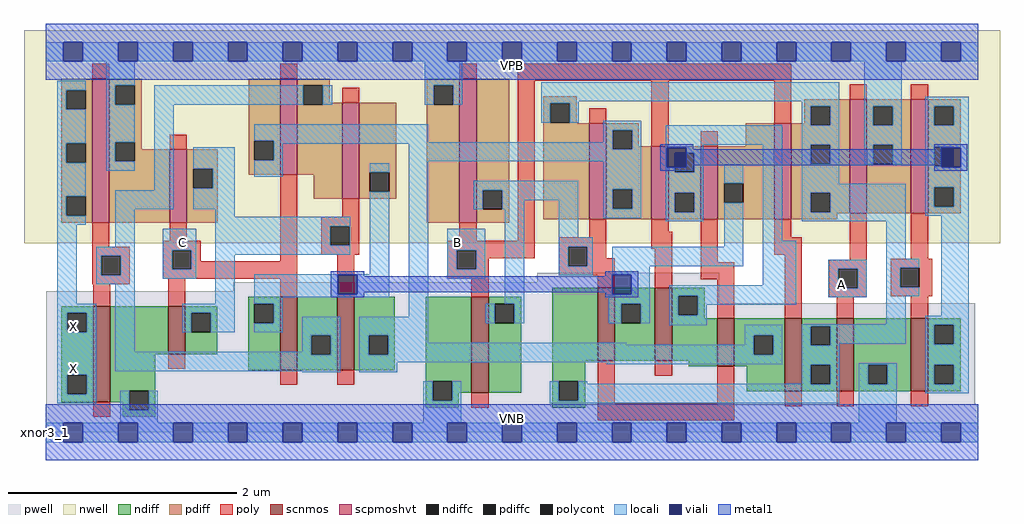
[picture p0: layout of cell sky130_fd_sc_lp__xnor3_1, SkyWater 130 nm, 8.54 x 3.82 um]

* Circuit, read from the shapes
.subckt sky130_fd_sc_lp__xnor3_1 A B C VGND VNB VPB VPWR X
XM1 VGND n1 X VNB sky130_fd_pr__nfet_01v8 w=0.84 l=0.15
XM2 n2 C VGND VNB sky130_fd_pr__nfet_01v8 w=0.42 l=0.15
XM3 n1 C n3 VNB sky130_fd_pr__nfet_01v8 w=0.64 l=0.15
XM4 n4 n2 n1 VNB sky130_fd_pr__nfet_01v8 w=0.64 l=0.15
XM5 n5 B VGND VNB sky130_fd_pr__nfet_01v8 w=0.84 l=0.15
XM6 n3 n5 n6 VNB sky130_fd_pr__nfet_01v8 w=0.64 l=0.15
XM7 n7 B n3 VNB sky130_fd_pr__nfet_01v8 w=0.64 l=0.15
XM8 n4 n5 n7 VNB sky130_fd_pr__nfet_01v8 w=0.42 l=0.15
XM9 n6 B n4 VNB sky130_fd_pr__nfet_01v8 w=0.64 l=0.15
XM10 VGND A n6 VNB sky130_fd_pr__nfet_01v8 w=0.64 l=0.15
XM11 n7 n6 VGND VNB sky130_fd_pr__nfet_01v8 w=0.64 l=0.15
XM12 VPWR n1 X VPB sky130_fd_pr__pfet_01v8_hvt w=1.26 l=0.15
XM13 n2 C VPWR VPB sky130_fd_pr__pfet_01v8_hvt w=0.64 l=0.15
XM14 n1 C n4 VPB sky130_fd_pr__pfet_01v8_hvt w=0.84 l=0.15
XM15 n3 n2 n1 VPB sky130_fd_pr__pfet_01v8_hvt w=0.84 l=0.15
XM16 n5 B VPWR VPB sky130_fd_pr__pfet_01v8_hvt w=1.26 l=0.15
XM17 n4 n5 n6 VPB sky130_fd_pr__pfet_01v8_hvt w=0.84 l=0.15
XM18 n7 B n4 VPB sky130_fd_pr__pfet_01v8_hvt w=0.64 l=0.15
XM19 n3 n5 n7 VPB sky130_fd_pr__pfet_01v8_hvt w=0.64 l=0.15
XM20 n6 B n3 VPB sky130_fd_pr__pfet_01v8_hvt w=0.84 l=0.15
XM21 VPWR A n6 VPB sky130_fd_pr__pfet_01v8_hvt w=1 l=0.15
XM22 n7 n6 VPWR VPB sky130_fd_pr__pfet_01v8_hvt w=1 l=0.15
.ends

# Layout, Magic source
magic
tech sky130A
magscale 1 2
<< nwell >>
rect -38 331 1670 704
<< pwell >>
rect 860 263 1179 279
rect 328 247 1179 263
rect 1 226 1179 247
rect 1 49 1627 226
rect 0 0 1632 49
<< scnmos >>
rect 83 53 113 221
rect 214 137 244 221
rect 410 109 440 237
rect 510 109 540 237
rect 745 69 775 237
rect 966 125 996 253
rect 1066 125 1096 253
rect 1175 116 1205 200
rect 1293 72 1323 200
rect 1384 72 1414 200
rect 1514 72 1544 200
<< scpmoshvt >>
rect 81 367 111 619
rect 217 367 247 495
rect 410 451 440 619
rect 519 409 549 577
rect 724 367 754 619
rect 951 373 981 541
rect 1060 373 1090 501
rect 1146 373 1176 501
rect 1275 373 1305 541
rect 1407 383 1437 583
rect 1514 383 1544 583
<< ndiff >>
rect 354 225 410 237
rect 27 209 83 221
rect 27 175 38 209
rect 72 175 83 209
rect 27 101 83 175
rect 27 67 38 101
rect 72 67 83 101
rect 27 53 83 67
rect 113 137 214 221
rect 244 209 300 221
rect 244 175 255 209
rect 289 175 300 209
rect 244 137 300 175
rect 354 191 365 225
rect 399 191 410 225
rect 113 73 192 137
rect 354 109 410 191
rect 440 170 510 237
rect 440 136 465 170
rect 499 136 510 170
rect 440 109 510 136
rect 540 170 611 237
rect 540 136 565 170
rect 599 136 611 170
rect 540 109 611 136
rect 665 89 745 237
rect 113 53 146 73
rect 135 39 146 53
rect 180 39 192 73
rect 665 55 677 89
rect 711 69 745 89
rect 775 225 832 237
rect 775 191 786 225
rect 820 191 832 225
rect 775 69 832 191
rect 886 125 966 253
rect 996 225 1066 253
rect 996 191 1007 225
rect 1041 191 1066 225
rect 996 125 1066 191
rect 1096 239 1153 253
rect 1096 205 1107 239
rect 1141 205 1153 239
rect 1096 200 1153 205
rect 1096 125 1175 200
rect 886 89 944 125
rect 711 55 723 69
rect 665 43 723 55
rect 886 55 898 89
rect 932 55 944 89
rect 886 43 944 55
rect 1125 116 1175 125
rect 1205 170 1293 200
rect 1205 136 1239 170
rect 1273 136 1293 170
rect 1205 116 1293 136
rect 1227 72 1293 116
rect 1323 186 1384 200
rect 1323 152 1339 186
rect 1373 152 1384 186
rect 1323 118 1384 152
rect 1323 84 1339 118
rect 1373 84 1384 118
rect 1323 72 1384 84
rect 1414 118 1514 200
rect 1414 84 1439 118
rect 1473 84 1514 118
rect 1414 72 1514 84
rect 1544 188 1601 200
rect 1544 154 1555 188
rect 1589 154 1601 188
rect 1544 118 1601 154
rect 1544 84 1555 118
rect 1589 84 1601 118
rect 1544 72 1601 84
rect 135 27 192 39
<< pdiff >>
rect 27 599 81 619
rect 27 565 36 599
rect 70 565 81 599
rect 27 506 81 565
rect 27 472 36 506
rect 70 472 81 506
rect 27 413 81 472
rect 27 379 36 413
rect 70 379 81 413
rect 27 367 81 379
rect 111 607 168 619
rect 111 573 122 607
rect 156 573 168 607
rect 111 508 168 573
rect 111 474 122 508
rect 156 495 168 508
rect 355 510 410 619
rect 156 474 217 495
rect 111 367 217 474
rect 247 461 301 495
rect 247 427 258 461
rect 292 427 301 461
rect 355 476 365 510
rect 399 476 410 510
rect 355 451 410 476
rect 440 607 497 619
rect 440 573 451 607
rect 485 577 497 607
rect 667 607 724 619
rect 485 573 519 577
rect 440 451 519 573
rect 247 367 301 427
rect 469 409 519 451
rect 549 455 613 577
rect 549 421 567 455
rect 601 421 613 455
rect 549 409 613 421
rect 667 573 679 607
rect 713 573 724 607
rect 667 367 724 573
rect 754 424 811 619
rect 754 390 765 424
rect 799 390 811 424
rect 754 367 811 390
rect 871 576 929 588
rect 871 542 883 576
rect 917 542 929 576
rect 871 541 929 542
rect 871 373 951 541
rect 981 529 1038 541
rect 981 495 992 529
rect 1026 501 1038 529
rect 1327 571 1407 583
rect 1327 541 1339 571
rect 1225 501 1275 541
rect 1026 495 1060 501
rect 981 425 1060 495
rect 981 391 992 425
rect 1026 391 1060 425
rect 981 373 1060 391
rect 1090 489 1146 501
rect 1090 455 1101 489
rect 1135 455 1146 489
rect 1090 419 1146 455
rect 1090 385 1101 419
rect 1135 385 1146 419
rect 1090 373 1146 385
rect 1176 436 1275 501
rect 1176 402 1187 436
rect 1221 402 1275 436
rect 1176 373 1275 402
rect 1305 537 1339 541
rect 1373 537 1407 571
rect 1305 503 1407 537
rect 1305 469 1339 503
rect 1373 469 1407 503
rect 1305 419 1407 469
rect 1305 385 1339 419
rect 1373 385 1407 419
rect 1305 383 1407 385
rect 1437 571 1514 583
rect 1437 537 1448 571
rect 1482 537 1514 571
rect 1437 503 1514 537
rect 1437 469 1448 503
rect 1482 469 1514 503
rect 1437 383 1514 469
rect 1544 571 1601 583
rect 1544 537 1555 571
rect 1589 537 1601 571
rect 1544 500 1601 537
rect 1544 466 1555 500
rect 1589 466 1601 500
rect 1544 429 1601 466
rect 1544 395 1555 429
rect 1589 395 1601 429
rect 1544 383 1601 395
rect 1305 373 1385 383
<< ndiffc >>
rect 38 175 72 209
rect 38 67 72 101
rect 255 175 289 209
rect 365 191 399 225
rect 465 136 499 170
rect 565 136 599 170
rect 146 39 180 73
rect 677 55 711 89
rect 786 191 820 225
rect 1007 191 1041 225
rect 1107 205 1141 239
rect 898 55 932 89
rect 1239 136 1273 170
rect 1339 152 1373 186
rect 1339 84 1373 118
rect 1439 84 1473 118
rect 1555 154 1589 188
rect 1555 84 1589 118
<< pdiffc >>
rect 36 565 70 599
rect 36 472 70 506
rect 36 379 70 413
rect 122 573 156 607
rect 122 474 156 508
rect 258 427 292 461
rect 365 476 399 510
rect 451 573 485 607
rect 567 421 601 455
rect 679 573 713 607
rect 765 390 799 424
rect 883 542 917 576
rect 992 495 1026 529
rect 992 391 1026 425
rect 1101 455 1135 489
rect 1101 385 1135 419
rect 1187 402 1221 436
rect 1339 537 1373 571
rect 1339 469 1373 503
rect 1339 385 1373 419
rect 1448 537 1482 571
rect 1448 469 1482 503
rect 1555 537 1589 571
rect 1555 466 1589 500
rect 1555 395 1589 429
<< poly >>
rect 81 619 111 645
rect 410 619 440 645
rect 724 619 754 645
rect 217 495 247 521
rect 519 577 549 603
rect 81 325 111 367
rect 217 335 247 367
rect 81 309 147 325
rect 81 275 97 309
rect 131 275 147 309
rect 81 259 147 275
rect 205 319 271 335
rect 205 285 221 319
rect 255 299 271 319
rect 410 299 440 451
rect 519 377 549 409
rect 482 361 549 377
rect 826 615 1305 645
rect 482 327 498 361
rect 532 327 549 361
rect 724 335 754 367
rect 826 335 856 615
rect 951 541 981 567
rect 1060 501 1090 615
rect 1275 541 1305 615
rect 1407 583 1437 609
rect 1514 583 1544 609
rect 1146 501 1176 527
rect 951 341 981 373
rect 482 311 549 327
rect 703 319 856 335
rect 255 285 440 299
rect 205 269 440 285
rect 83 221 113 259
rect 214 221 244 269
rect 410 237 440 269
rect 510 237 540 311
rect 703 285 719 319
rect 753 305 856 319
rect 898 325 981 341
rect 753 285 775 305
rect 703 269 775 285
rect 898 291 914 325
rect 948 305 981 325
rect 1060 351 1090 373
rect 1060 321 1096 351
rect 948 291 996 305
rect 898 275 996 291
rect 745 237 775 269
rect 966 253 996 275
rect 1066 253 1096 321
rect 1146 298 1176 373
rect 1275 341 1305 373
rect 1275 311 1323 341
rect 1146 268 1205 298
rect 214 111 244 137
rect 410 83 440 109
rect 510 83 540 109
rect 83 27 113 53
rect 1175 200 1205 268
rect 1293 200 1323 311
rect 1407 302 1437 383
rect 1514 304 1544 383
rect 1371 286 1437 302
rect 1371 252 1387 286
rect 1421 252 1437 286
rect 1371 236 1437 252
rect 1479 288 1551 304
rect 1479 254 1495 288
rect 1529 254 1551 288
rect 1479 238 1551 254
rect 1384 200 1414 236
rect 1514 200 1544 238
rect 745 43 775 69
rect 966 51 996 125
rect 1066 99 1096 125
rect 1175 51 1205 116
rect 966 21 1205 51
rect 1293 46 1323 72
rect 1384 46 1414 72
rect 1514 46 1544 72
<< polycont >>
rect 97 275 131 309
rect 221 285 255 319
rect 498 327 532 361
rect 719 285 753 319
rect 914 291 948 325
rect 1387 252 1421 286
rect 1495 254 1529 288
<< locali >>
rect 0 649 31 683
rect 65 649 127 683
rect 161 649 223 683
rect 257 649 319 683
rect 353 649 415 683
rect 449 649 511 683
rect 545 649 607 683
rect 641 649 703 683
rect 737 649 799 683
rect 833 649 895 683
rect 929 649 991 683
rect 1025 649 1087 683
rect 1121 649 1183 683
rect 1217 649 1279 683
rect 1313 649 1375 683
rect 1409 649 1471 683
rect 1505 649 1567 683
rect 1601 649 1632 683
rect 20 599 70 615
rect 20 565 36 599
rect 20 506 70 565
rect 20 472 36 506
rect 20 413 70 472
rect 106 607 156 649
rect 663 607 729 649
rect 106 573 122 607
rect 106 508 156 573
rect 106 474 122 508
rect 106 458 156 474
rect 190 573 451 607
rect 485 573 501 607
rect 663 573 679 607
rect 713 573 729 607
rect 867 579 1389 613
rect 867 576 933 579
rect 190 424 224 573
rect 867 542 883 576
rect 917 542 933 576
rect 1323 571 1389 579
rect 365 510 669 539
rect 20 379 36 413
rect 20 363 70 379
rect 122 390 224 424
rect 258 461 331 499
rect 292 427 331 461
rect 399 508 669 510
rect 976 529 1042 545
rect 1323 537 1339 571
rect 1373 537 1389 571
rect 976 508 992 529
rect 399 505 992 508
rect 399 476 415 505
rect 365 447 415 476
rect 635 495 992 505
rect 1026 495 1042 529
rect 635 474 1042 495
rect 567 455 601 471
rect 258 390 331 427
rect 20 225 54 363
rect 122 325 156 390
rect 297 377 331 390
rect 297 361 533 377
rect 88 309 156 325
rect 88 275 97 309
rect 131 275 156 309
rect 88 259 156 275
rect 205 319 263 356
rect 205 285 221 319
rect 255 285 263 319
rect 205 269 263 285
rect 297 327 498 361
rect 532 327 533 361
rect 297 311 533 327
rect 20 209 88 225
rect 20 175 38 209
rect 72 175 88 209
rect 20 101 88 175
rect 122 141 156 259
rect 297 225 331 311
rect 567 277 601 421
rect 239 209 331 225
rect 239 175 255 209
rect 289 175 331 209
rect 365 276 601 277
rect 365 242 511 276
rect 545 242 601 276
rect 365 236 601 242
rect 365 225 415 236
rect 399 191 415 225
rect 635 202 669 474
rect 749 424 932 440
rect 749 390 765 424
rect 799 406 932 424
rect 799 390 837 406
rect 703 319 769 356
rect 703 285 719 319
rect 753 285 769 319
rect 703 269 769 285
rect 803 225 837 390
rect 898 341 932 406
rect 976 425 1042 474
rect 976 391 992 425
rect 1026 391 1042 425
rect 976 375 1042 391
rect 1085 503 1289 537
rect 1085 498 1151 503
rect 1085 464 1087 498
rect 1121 489 1151 498
rect 1085 455 1101 464
rect 1135 455 1151 489
rect 1085 419 1151 455
rect 1085 385 1101 419
rect 1135 385 1151 419
rect 1085 369 1151 385
rect 1187 436 1221 469
rect 898 325 957 341
rect 1187 325 1221 402
rect 898 291 914 325
rect 948 291 957 325
rect 898 275 957 291
rect 991 291 1221 325
rect 1255 335 1289 503
rect 1323 503 1389 537
rect 1323 469 1339 503
rect 1373 469 1389 503
rect 1432 571 1498 649
rect 1432 537 1448 571
rect 1482 537 1498 571
rect 1432 503 1498 537
rect 1432 469 1448 503
rect 1482 469 1498 503
rect 1539 571 1615 587
rect 1539 537 1555 571
rect 1589 537 1615 571
rect 1539 500 1615 537
rect 1323 435 1389 469
rect 1539 466 1555 500
rect 1589 498 1615 500
rect 1539 464 1567 466
rect 1601 464 1615 498
rect 1323 419 1505 435
rect 1323 385 1339 419
rect 1373 385 1505 419
rect 1323 369 1505 385
rect 1539 429 1615 464
rect 1539 395 1555 429
rect 1589 395 1615 429
rect 1539 379 1615 395
rect 991 276 1057 291
rect 1025 242 1057 276
rect 1255 257 1313 335
rect 1471 304 1505 369
rect 991 241 1057 242
rect 365 175 415 191
rect 449 170 515 202
rect 449 141 465 170
rect 122 136 465 141
rect 499 136 515 170
rect 122 107 515 136
rect 449 105 515 107
rect 549 170 669 202
rect 770 191 786 225
rect 820 191 837 225
rect 985 225 1057 241
rect 985 191 1007 225
rect 1041 191 1057 225
rect 1091 239 1313 257
rect 1091 205 1107 239
rect 1141 223 1313 239
rect 1369 286 1437 302
rect 1369 252 1387 286
rect 1421 252 1437 286
rect 1369 236 1437 252
rect 1471 288 1529 304
rect 1471 254 1495 288
rect 1471 238 1529 254
rect 1141 205 1157 223
rect 1091 187 1157 205
rect 1471 189 1505 238
rect 1567 204 1615 379
rect 549 136 565 170
rect 599 157 669 170
rect 1223 170 1289 188
rect 599 153 1016 157
rect 1223 153 1239 170
rect 599 136 1239 153
rect 1273 136 1289 170
rect 549 123 1289 136
rect 549 105 615 123
rect 982 119 1289 123
rect 1323 186 1505 189
rect 1323 152 1339 186
rect 1373 155 1505 186
rect 1539 188 1615 204
rect 1373 152 1389 155
rect 1323 118 1389 152
rect 1539 154 1555 188
rect 1589 154 1615 188
rect 20 67 38 101
rect 72 67 88 101
rect 20 51 88 67
rect 130 39 146 73
rect 180 39 196 73
rect 130 17 196 39
rect 661 55 677 89
rect 711 55 727 89
rect 661 17 727 55
rect 882 55 898 89
rect 932 85 948 89
rect 1323 85 1339 118
rect 932 84 1339 85
rect 1373 84 1389 118
rect 932 55 1389 84
rect 882 51 1389 55
rect 1423 118 1489 121
rect 1423 84 1439 118
rect 1473 84 1489 118
rect 1423 17 1489 84
rect 1539 118 1615 154
rect 1539 84 1555 118
rect 1589 84 1615 118
rect 1539 68 1615 84
rect 0 -17 31 17
rect 65 -17 127 17
rect 161 -17 223 17
rect 257 -17 319 17
rect 353 -17 415 17
rect 449 -17 511 17
rect 545 -17 607 17
rect 641 -17 703 17
rect 737 -17 799 17
rect 833 -17 895 17
rect 929 -17 991 17
rect 1025 -17 1087 17
rect 1121 -17 1183 17
rect 1217 -17 1279 17
rect 1313 -17 1375 17
rect 1409 -17 1471 17
rect 1505 -17 1567 17
rect 1601 -17 1632 17
<< viali >>
rect 31 649 65 683
rect 127 649 161 683
rect 223 649 257 683
rect 319 649 353 683
rect 415 649 449 683
rect 511 649 545 683
rect 607 649 641 683
rect 703 649 737 683
rect 799 649 833 683
rect 895 649 929 683
rect 991 649 1025 683
rect 1087 649 1121 683
rect 1183 649 1217 683
rect 1279 649 1313 683
rect 1375 649 1409 683
rect 1471 649 1505 683
rect 1567 649 1601 683
rect 511 242 545 276
rect 1087 489 1121 498
rect 1087 464 1101 489
rect 1101 464 1121 489
rect 1567 466 1589 498
rect 1589 466 1601 498
rect 1567 464 1601 466
rect 991 242 1025 276
rect 31 -17 65 17
rect 127 -17 161 17
rect 223 -17 257 17
rect 319 -17 353 17
rect 415 -17 449 17
rect 511 -17 545 17
rect 607 -17 641 17
rect 703 -17 737 17
rect 799 -17 833 17
rect 895 -17 929 17
rect 991 -17 1025 17
rect 1087 -17 1121 17
rect 1183 -17 1217 17
rect 1279 -17 1313 17
rect 1375 -17 1409 17
rect 1471 -17 1505 17
rect 1567 -17 1601 17
<< metal1 >>
rect 0 683 1632 715
rect 0 649 31 683
rect 65 649 127 683
rect 161 649 223 683
rect 257 649 319 683
rect 353 649 415 683
rect 449 649 511 683
rect 545 649 607 683
rect 641 649 703 683
rect 737 649 799 683
rect 833 649 895 683
rect 929 649 991 683
rect 1025 649 1087 683
rect 1121 649 1183 683
rect 1217 649 1279 683
rect 1313 649 1375 683
rect 1409 649 1471 683
rect 1505 649 1567 683
rect 1601 649 1632 683
rect 0 617 1632 649
rect 1075 498 1133 504
rect 1075 464 1087 498
rect 1121 495 1133 498
rect 1555 498 1613 504
rect 1555 495 1567 498
rect 1121 467 1567 495
rect 1121 464 1133 467
rect 1075 458 1133 464
rect 1555 464 1567 467
rect 1601 464 1613 498
rect 1555 458 1613 464
rect 499 276 557 282
rect 499 242 511 276
rect 545 273 557 276
rect 979 276 1037 282
rect 979 273 991 276
rect 545 245 991 273
rect 545 242 557 245
rect 499 236 557 242
rect 979 242 991 245
rect 1025 242 1037 276
rect 979 236 1037 242
rect 0 17 1632 49
rect 0 -17 31 17
rect 65 -17 127 17
rect 161 -17 223 17
rect 257 -17 319 17
rect 353 -17 415 17
rect 449 -17 511 17
rect 545 -17 607 17
rect 641 -17 703 17
rect 737 -17 799 17
rect 833 -17 895 17
rect 929 -17 991 17
rect 1025 -17 1087 17
rect 1121 -17 1183 17
rect 1217 -17 1279 17
rect 1313 -17 1375 17
rect 1409 -17 1471 17
rect 1505 -17 1567 17
rect 1601 -17 1632 17
rect 0 -49 1632 -17
<< labels >>
flabel pwell s 0 0 1632 49 0 FreeSans 200 0 0 0 VNB
port 5 nsew ground bidirectional
flabel nwell s 0 617 1632 666 0 FreeSans 200 0 0 0 VPB
port 6 nsew power bidirectional
rlabel comment s 0 0 0 0 4 xnor3_1
flabel metal1 s 0 617 1632 666 0 FreeSans 340 0 0 0 VPWR
port 7 nsew power bidirectional
flabel metal1 s 0 0 1632 49 0 FreeSans 340 0 0 0 VGND
port 4 nsew ground bidirectional
flabel locali s 1375 242 1409 276 0 FreeSans 340 0 0 0 A
port 1 nsew signal input
flabel locali s 223 316 257 350 0 FreeSans 340 0 0 0 C
port 3 nsew signal input
flabel locali s 703 316 737 350 0 FreeSans 340 0 0 0 B
port 2 nsew signal input
flabel locali s 31 94 65 128 0 FreeSans 340 0 0 0 X
port 8 nsew signal output
flabel locali s 31 168 65 202 0 FreeSans 340 0 0 0 X
port 8 nsew signal output
<< properties >>
string LEFsite unit
string LEFclass CORE
string FIXED_BBOX 0 0 1632 666
string GDS_FILE $PDKPATH/libs.ref/sky130_fd_sc_lp/gds/sky130_fd_sc_lp.gds
string LEFsymmetry X Y R90
string GDS_END 733306
string GDS_START 721414
<< end >>
